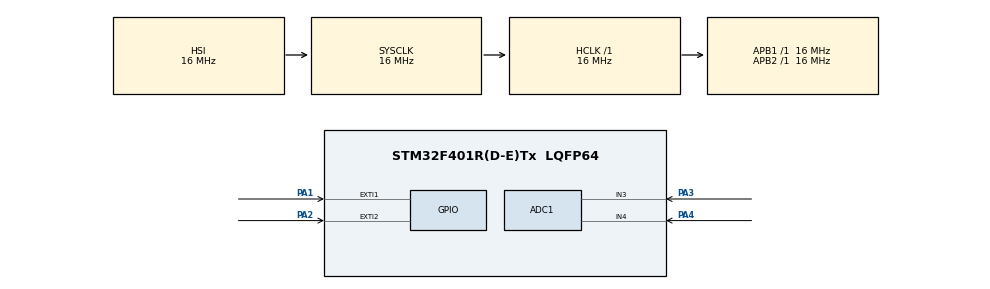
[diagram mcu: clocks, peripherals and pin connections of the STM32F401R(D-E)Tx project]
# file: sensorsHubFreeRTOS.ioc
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ADC1.Channel-0\#ChannelRegularConversion=ADC_CHANNEL_3
ADC1.DiscontinuousConvMode=ENABLE
ADC1.NbrOfConversionFlag=1
ADC1.Rank-0\#ChannelRegularConversion=1
ADC1.SamplingTime-0\#ChannelRegularConversion=ADC_SAMPLETIME_3CYCLES
ADC1.ScanConvMode=ENABLE
ADC1.master=1
FREERTOS.Queues01=temperatureValues,10,float,0,Dynamic,NULL,NULL
FREERTOS.Tasks01=defaultTask,24,128,StartDefaultTask,Default,NULL,Dynamic,NULL,NULL;lcdDispTask,24,256,lcdDisplayTask,Default,NULL,Dynamic,NULL,NULL;AdcReadingTa,24,256,AdcReadingTask,Default,NULL,Dynamic,NULL,NULL
FREERTOS.configUSE_NEWLIB_REENTRANT=1
FREERTOS.configUSE_TICKLESS_IDLE=1
Mcu.Family=STM32F4
Mcu.Name=STM32F401R(D-E)Tx
Mcu.Package=LQFP64
NVIC.EXTI1_IRQn=true\:5\:0\:true\:false\:true\:false\:true\:true\:true
NVIC.EXTI2_IRQn=true\:5\:0\:true\:false\:true\:false\:true\:true\:true
NVIC.PriorityGroup=NVIC_PRIORITYGROUP_4
NVIC.TIM1_UP_TIM10_IRQn=true\:15\:0\:false\:false\:true\:false\:false\:true\:true
NVIC.TimeBase=TIM1_UP_TIM10_IRQn
NVIC.TimeBaseIP=TIM1
PA1.GPIO_PuPd=GPIO_PULLDOWN
PA1.Signal=GPXTI1
PA2.GPIO_PuPd=GPIO_PULLDOWN
PA2.Signal=GPXTI2
PA3.Signal=ADCx_IN3
PA4.Signal=ADCx_IN4
ProjectManager.HeapSize=0x200
ProjectManager.StackSize=0x400
ProjectManager.TargetToolchain=STM32CubeIDE
RCC.AHBFreq_Value=16000000
RCC.APB1Freq_Value=16000000
RCC.APB2Freq_Value=16000000
RCC.CortexFreq_Value=16000000
RCC.HSE_VALUE=25000000
RCC.HSI_VALUE=16000000
RCC.LSE_VALUE=32768
RCC.SYSCLKFreq_VALUE=16000000
RCC.VCOOutputFreq_Value=192000000
SH.ADCx_IN3.0=ADC1_IN3,IN3
SH.ADCx_IN4.0=ADC1_IN4,IN4
VP_FREERTOS_VS_CMSIS_V2.Mode=CMSIS_V2
VP_SYS_VS_tim1.Mode=TIM1
board=custom

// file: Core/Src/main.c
/* USER CODE BEGIN Header */
/**
 ******************************************************************************
 * @file           : main.c
 * @brief          : Main program body
 ******************************************************************************
 * @attention
 *
 * Copyright (c) 2024 STMicroelectronics.
 * All rights reserved.
 *
 * This software is licensed under terms that can be found in the LICENSE file
 * in the root directory of this software component.
 * If no LICENSE file comes with this software, it is provided AS-IS.
 *
 ******************************************************************************
 */
/* USER CODE END Header */
#include "main.h"
#include "cmsis_os.h"

/* USER CODE BEGIN Includes */

#include <string.h>
#include <math.h>
#include <stdio.h>
#include"lcd_txt.h"

/* USER CODE END Includes */

/* USER CODE BEGIN PD */

#define VIBRATION_SENSOR GPIO_PIN_1
#define MOTION_SENSOR GPIO_PIN_2

#define SERIESRESISTOR 10000          //Value of the series resistor in ohms
#define THERMISTORNOMINAL 10000       //Nominal resistance of the thermistor at 25°C in ohms
#define TEMPERATURENOMINAL 25           //Nominal temperature for the thermistor resistance in degrees Celsius
#define BCOEFFICIENT 3950

/* USER CODE END PD */

ADC_HandleTypeDef hadc1;

/* Definitions for defaultTask */
osThreadId_t defaultTaskHandle;
const osThreadAttr_t defaultTask_attributes = {
  .name = "defaultTask",
  .stack_size = 128 * 4,
  .priority = (osPriority_t) osPriorityNormal,
};
/* Definitions for lcdDispTask */
osThreadId_t lcdDispTaskHandle;
const osThreadAttr_t lcdDispTask_attributes = {
  .name = "lcdDispTask",
  .stack_size = 256 * 4,
  .priority = (osPriority_t) osPriorityNormal,
};
/* Definitions for AdcReadingTa */
osThreadId_t AdcReadingTaHandle;
const osThreadAttr_t AdcReadingTa_attributes = {
  .name = "AdcReadingTa",
  .stack_size = 256 * 4,
  .priority = (osPriority_t) osPriorityNormal,
};
/* Definitions for temperatureValues */
osMessageQueueId_t temperatureValuesHandle;
const osMessageQueueAttr_t temperatureValues_attributes = {
  .name = "temperatureValues"
};

void SystemClock_Config(void);
static void MX_GPIO_Init(void);
static void MX_ADC1_Init(void);
void StartDefaultTask(void *argument);
void lcdDisplayTask(void *argument);
void AdcReadingTask(void *argument);

int main(void)
{

  /* MCU Configuration--------------------------------------------------------*/

  /* Reset of all peripherals, Initializes the Flash interface and the Systick. */
  HAL_Init();

  /* Configure the system clock */
  SystemClock_Config();

  /* Initialize all configured peripherals */
  MX_GPIO_Init();
  MX_ADC1_Init();

  /* Init scheduler */
  osKernelInitialize();

  /* Create the queue(s) */
  /* creation of temperatureValues */
  temperatureValuesHandle = osMessageQueueNew (10, sizeof(float), &temperatureValues_attributes);

  /* Create the thread(s) */
  /* creation of defaultTask */
  defaultTaskHandle = osThreadNew(StartDefaultTask, NULL, &defaultTask_attributes);

  /* creation of lcdDispTask */
  lcdDispTaskHandle = osThreadNew(lcdDisplayTask, NULL, &lcdDispTask_attributes);

  /* creation of AdcReadingTa */
  AdcReadingTaHandle = osThreadNew(AdcReadingTask, NULL, &AdcReadingTa_attributes);

  /* Start scheduler */
  osKernelStart();
  /* We should never get here as control is now taken by the scheduler */
  /* Infinite loop */
	while (1)
	{

	}
}

void SystemClock_Config(void)
{
  RCC_OscInitTypeDef RCC_OscInitStruct = {0};
  RCC_ClkInitTypeDef RCC_ClkInitStruct = {0};

  /** Configure the main internal regulator output voltage
  */
  __HAL_RCC_PWR_CLK_ENABLE();
  __HAL_PWR_VOLTAGESCALING_CONFIG(PWR_REGULATOR_VOLTAGE_SCALE2);

  /** Initializes the RCC Oscillators according to the specified parameters
  * in the RCC_OscInitTypeDef structure.
  */
  RCC_OscInitStruct.OscillatorType = RCC_OSCILLATORTYPE_HSI;
  RCC_OscInitStruct.HSIState = RCC_HSI_ON;
  RCC_OscInitStruct.HSICalibrationValue = RCC_HSICALIBRATION_DEFAULT;
  RCC_OscInitStruct.PLL.PLLState = RCC_PLL_NONE;
  if (HAL_RCC_OscConfig(&RCC_OscInitStruct) != HAL_OK)
  {
    Error_Handler();
  }

  /** Initializes the CPU, AHB and APB buses clocks
  */
  RCC_ClkInitStruct.ClockType = RCC_CLOCKTYPE_HCLK|RCC_CLOCKTYPE_SYSCLK
                              |RCC_CLOCKTYPE_PCLK1|RCC_CLOCKTYPE_PCLK2;
  RCC_ClkInitStruct.SYSCLKSource = RCC_SYSCLKSOURCE_HSI;
  RCC_ClkInitStruct.AHBCLKDivider = RCC_SYSCLK_DIV1;
  RCC_ClkInitStruct.APB1CLKDivider = RCC_HCLK_DIV1;
  RCC_ClkInitStruct.APB2CLKDivider = RCC_HCLK_DIV1;

  if (HAL_RCC_ClockConfig(&RCC_ClkInitStruct, FLASH_LATENCY_0) != HAL_OK)
  {
    Error_Handler();
  }
}

static void MX_ADC1_Init(void)
{

  ADC_ChannelConfTypeDef sConfig = {0};

  /** Configure the global features of the ADC (Clock, Resolution, Data Alignment and number of conversion)
  */
  hadc1.Instance = ADC1;
  hadc1.Init.ClockPrescaler = ADC_CLOCK_SYNC_PCLK_DIV2;
  hadc1.Init.Resolution = ADC_RESOLUTION_12B;
  hadc1.Init.ScanConvMode = ENABLE;
  hadc1.Init.ContinuousConvMode = DISABLE;
  hadc1.Init.DiscontinuousConvMode = ENABLE;
  hadc1.Init.NbrOfDiscConversion = 1;
  hadc1.Init.ExternalTrigConvEdge = ADC_EXTERNALTRIGCONVEDGE_NONE;
  hadc1.Init.ExternalTrigConv = ADC_SOFTWARE_START;
  hadc1.Init.DataAlign = ADC_DATAALIGN_RIGHT;
  hadc1.Init.NbrOfConversion = 1;
  hadc1.Init.DMAContinuousRequests = DISABLE;
  hadc1.Init.EOCSelection = ADC_EOC_SINGLE_CONV;
  if (HAL_ADC_Init(&hadc1) != HAL_OK)
  {
    Error_Handler();
  }

  /** Configure for the selected ADC regular channel its corresponding rank in the sequencer and its sample time.
  */
  sConfig.Channel = ADC_CHANNEL_3;
  sConfig.Rank = 1;
  sConfig.SamplingTime = ADC_SAMPLETIME_3CYCLES;
  if (HAL_ADC_ConfigChannel(&hadc1, &sConfig) != HAL_OK)
  {
    Error_Handler();
  }

}

static void MX_GPIO_Init(void)
{
  GPIO_InitTypeDef GPIO_InitStruct = {0};

  /* GPIO Ports Clock Enable */
  __HAL_RCC_GPIOA_CLK_ENABLE();

  /*Configure GPIO pins : PA1 PA2 */
  GPIO_InitStruct.Pin = GPIO_PIN_1|GPIO_PIN_2;
  GPIO_InitStruct.Mode = GPIO_MODE_IT_RISING;
  GPIO_InitStruct.Pull = GPIO_PULLDOWN;
  HAL_GPIO_Init(GPIOA, &GPIO_InitStruct);

  /* EXTI interrupt init*/
  HAL_NVIC_SetPriority(EXTI1_IRQn, 5, 0);
  HAL_NVIC_EnableIRQ(EXTI1_IRQn);

  HAL_NVIC_SetPriority(EXTI2_IRQn, 5, 0);
  HAL_NVIC_EnableIRQ(EXTI2_IRQn);

}

/* USER CODE BEGIN 4 */

void HAL_GPIO_EXTI_Callback(uint16_t GPIO_Pin)
{
	switch(GPIO_Pin)
	{
	case VIBRATION_SENSOR:
		osThreadFlagsSet (lcdDispTaskHandle, 0x000F);
		break;
	case MOTION_SENSOR:
		osThreadFlagsSet (lcdDispTaskHandle, 0x001F);
		break;

	}
}

/* USER CODE END 4 */

void StartDefaultTask(void *argument)
{
	for(;;)
	{
		osDelay(1);
	}
}

void lcdDisplayTask(void *argument)
{
  /* USER CODE BEGIN lcdDisplayTask */

	float tempValue = 0;
	char msg[30];
	/* Infinite loop */
	for(;;)
	{

		uint32_t notifValue = osThreadFlagsWait (0x000F, osFlagsWaitAll, osWaitForever);
		switch (notifValue)
		{
		case 0x000F:
			lcd_puts((uint8_t*)" vibration detected" , strlen (" vibration detected"));

			break;
		case 0x001F:
			lcd_puts((uint8_t*)" motion detected" , strlen (" motion detected"));

		case 0x002F:

			osMessageQueueGet (temperatureValuesHandle, &tempValue, 0, osWaitForever);
			sprintf(msg, " LM35: %.2f C\r\n",tempValue);
			lcd_puts((uint8_t*)msg, strlen (msg));
		case 0x003F:

			osMessageQueueGet (temperatureValuesHandle, &tempValue, 0, osWaitForever);
			sprintf(msg, " NTC: %.2f *C\r\n", tempValue);  // Format the temperature value for UART output
			lcd_puts((uint8_t*)msg, strlen (msg));

		}
		HAL_Delay(500);
		lcd_clear();

		osDelay(100);
	}
  /* USER CODE END lcdDisplayTask */
}

void AdcReadingTask(void *argument)
{
  /* USER CODE BEGIN AdcReadingTask */

	float temp = 0;
	float steinhart=0;
	/* Infinite loop */
	for(;;)
	{

		for(int i=0; i<2; i++)
		{

			HAL_ADC_Start(&hadc1); // Start ADC Conversion
			HAL_ADC_PollForConversion(&hadc1, 1); // Poll ADC1 Peripheral & TimeOut = 1mSec
			uint16_t AD_RES = HAL_ADC_GetValue(&hadc1); // Read ADC Conversion Result
			switch(i)
			{
			case 0:

				temp = ((AD_RES * 5000 /4096) + 5)/10;

				osMessageQueuePut (temperatureValuesHandle, &temp, 0, osWaitForever);
				osThreadFlagsSet (lcdDispTaskHandle, 0x002F);

				break;
			case 1:
				temp = AD_RES;
				if (temp > 0) {  // Ensure the average is not zero to avoid division errors
					temp = 4094 / temp - 1;  // Convert ADC reading to resistance using 12-bit ADC resolution
					temp = SERIESRESISTOR / temp;  // Calculate the thermistor resistance

					// Apply the Steinhart-Hart equation to convert resistance to temperature
					steinhart = temp / THERMISTORNOMINAL;  //Compute the ratio of thermistor resistance to nominal resistance
					steinhart = log(steinhart);  //Compute the natural logarithm of the resistance ratio
					steinhart /= BCOEFFICIENT;  //Divide by the thermistor's Beta coefficient
					steinhart += 1.0 / (TEMPERATURENOMINAL + 273.15);  //Add the reciprocal of the nominal temperature in Kelvin
					steinhart = 1.0 / steinhart;  //Compute the reciprocal to get the temperature in Kelvin
					steinhart -= 273.15;  //Convert the temperature from Kelvin to Celsius

					osMessageQueuePut (temperatureValuesHandle, &steinhart, 0, osWaitForever);
					osThreadFlagsSet (lcdDispTaskHandle, 0x003F);

				}
				break;

			}
			osDelay(5000);
		}
	}
  /* USER CODE END AdcReadingTask */
}

void HAL_TIM_PeriodElapsedCallback(TIM_HandleTypeDef *htim)
{
  if (htim->Instance == TIM1) {
    HAL_IncTick();
  }
}

void Error_Handler(void)
{
	__disable_irq();
	while (1)
	{
	}
}

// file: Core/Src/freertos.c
/* USER CODE BEGIN Header */
/**
  ******************************************************************************
  * File Name          : freertos.c
  * Description        : Code for freertos applications
  ******************************************************************************
  * @attention
  *
  * Copyright (c) 2024 STMicroelectronics.
  * All rights reserved.
  *
  * This software is licensed under terms that can be found in the LICENSE file
  * in the root directory of this software component.
  * If no LICENSE file comes with this software, it is provided AS-IS.
  *
  ******************************************************************************
  */
/* USER CODE END Header */

#include "FreeRTOS.h"
#include "task.h"
#include "main.h"

/* USER CODE BEGIN PREPOSTSLEEP */
__weak void PreSleepProcessing(uint32_t ulExpectedIdleTime)
{
/* place for user code */
}

__weak void PostSleepProcessing(uint32_t ulExpectedIdleTime)
{
/* place for user code */
}
/* USER CODE END PREPOSTSLEEP */
